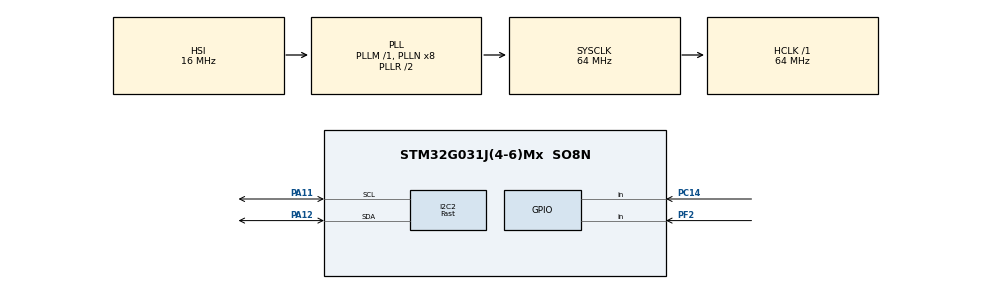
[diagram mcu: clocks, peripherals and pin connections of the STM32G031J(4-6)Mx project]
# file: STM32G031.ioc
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I2C2.I2C_Fall_Time=300
I2C2.I2C_Rise_Time=300
I2C2.I2C_Speed_Mode=I2C_Fast
I2C2.Timing=0x10C71026
Mcu.Family=STM32G0
Mcu.Name=STM32G031J(4-6)Mx
Mcu.Package=SO8N
PA11\ [PA9].GPIO_Pu=GPIO_NOPULL
PA11\ [PA9].Mode=I2C
PA11\ [PA9].Signal=I2C2_SCL
PA12\ [PA10].Mode=I2C
PA12\ [PA10].Signal=I2C2_SDA
PA13.Mode=Serial_Wire
PA13.Signal=SYS_SWDIO
PA14-BOOT0.Mode=Serial_Wire
PA14-BOOT0.Signal=SYS_SWCLK
PA14-BOOT0__PA15__PB5__PB6.StandardMode=true
PB0__PB1__PA8__PA11\ [PA9].StandardMode=true
PC14-OSC32_IN\ (PC14).GPIO_PuPd=GPIO_PULLUP
PC14-OSC32_IN\ (PC14).Signal=GPIO_Input
PC14-OSC32_IN\ (PC14)__PB7__PB8__PB9.StandardMode=true
PF2\ -\ NRST.GPIO_PuPd=GPIO_PULLUP
PF2\ -\ NRST.Signal=GPIO_Input
PF2\ -\ NRST__PA0__PA1__PA2.StandardMode=true
ProjectManager.HeapSize=0x200
ProjectManager.StackSize=0x400
ProjectManager.TargetToolchain=STM32CubeIDE
RCC.ADCFreq_Value=64000000
RCC.AHBFreq_Value=64000000
RCC.CortexFreq_Value=64000000
RCC.EXTERNAL_CLOCK_VALUE=12288000
RCC.HCLKFreq_Value=64000000
RCC.HSE_VALUE=8000000
RCC.HSI_VALUE=16000000
RCC.LSE_VALUE=32768
RCC.SYSCLKFreq_VALUE=64000000
RCC.SYSCLKSource=RCC_SYSCLKSOURCE_PLLCLK
RCC.VCOOutputFreq_Value=128000000
board=custom

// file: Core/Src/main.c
/* USER CODE BEGIN Header */
/**
  ******************************************************************************
  * @file           : main.c
  * @brief          : Main program body
  ******************************************************************************
  * @attention
  *
  * Copyright (c) 2026 STMicroelectronics.
  * All rights reserved.
  *
  * This software is licensed under terms that can be found in the LICENSE file
  * in the root directory of this software component.
  * If no LICENSE file comes with this software, it is provided AS-IS.
  *
  ******************************************************************************
  */
/* USER CODE END Header */
#include "main.h"
#include "i2c.h"
#include "gpio.h"

/* USER CODE BEGIN Includes */
#include <string.h>
#include "ssd1306.h"
#include "fonts.h"
#include "string_oper.h"
/* USER CODE END Includes */

/* USER CODE BEGIN PTD */
#define KEYS_MAX	4
#define KEY_PLUS_FREQ		GPIOF, GPIO_PIN_2
#define KEY_MINUS_FREQ		GPIOC, GPIO_PIN_14
#define KEY_PLUS_TUNN		GPIOA, GPIO_PIN_13
#define KEY_MINUS_TUNN		GPIOA, GPIO_PIN_14

#define MAX_RADIO_CHANNEL	24
#define SIZE_RADIO_NAME		30
#define DIV_ACT	2
#define STEP_FREQ	12.000000
#define DIV_FREQ	75.000000
#define INTER_F1	10.700000

#define WAIT_FOR_ALL_RELEASE	while(INPUT_IsAnyPress(port,KEYS_MAX))
#define MAX_DISPLAYs			2

#define SIZE_MAIN_BUFF	 100

/* USER CODE END PTD */

/* USER CODE BEGIN PD */
typedef struct{
	char radioName[SIZE_RADIO_NAME];
	double freq;
	uint16_t freqStep;
	uint16_t freqDiv;
	double freqOffs;
} RADIOPARAM;

typedef struct{
	char *pName[MAX_RADIO_CHANNEL];
	uint8_t selRadio;
	RADIOPARAM Radio[MAX_RADIO_CHANNEL];
} STRUCT_VISUALPARAM;

static INPUT_PIN port[KEYS_MAX]={{KEY_MINUS_FREQ},{KEY_PLUS_FREQ},{KEY_MINUS_TUNN},{KEY_PLUS_TUNN}};
static STRUCT_VISUALPARAM Test;
static uint16_t toogleVar[3]={0x01};
static uint8_t display[MAX_DISPLAYs]={0x78,0x7A};
static char mainBuff[SIZE_MAIN_BUFF]={0};

/* USER CODE END PD */

void SystemClock_Config(void);
/* USER CODE BEGIN PFP */

static void ERROR_pcf8575(void){
	SSD1306_DispBK(display[0],NoInvert);
	SSD1306_TxtMidd(0,0,"ERROR",Font_16x26,NoInvert);
	SSD1306_TxtMiddX(0,SSD1306_posY()+Font_16x26.FontHeight+3," PCF8575 ",Font_7x10,NoInvert);
	ssd1306_UpdateScreen();
}
static void ERROR_ssd1306(void){
	;
}

static void RADIO_InitScreen(void){
	SSD1306_DispBK(display[0],NoInvert);
	SSD1306_Txt(0,0,"Radio",Font_16x26,NoInvert);	SSD1306_Txt(SSD1306_posX()+5,0,"FM",Font_16x26,NoInvert);
	SSD1306_TxtMiddX(0,SSD1306_posY()+Font_16x26.FontHeight+6,"Synteza",Font_7x10,NoInvert);
	SSD1306_TxtMiddX(0,SSD1306_posY()+Font_7x10.FontHeight+3,"czestotliwosci",Font_7x10,NoInvert);
	ssd1306_UpdateScreen();
}

static int RADIO_SetFreq(int nr){ 	/* PCF8575_Init(); */
	return PCF8575_SetVAl( Test.Radio[nr].freqStep, Test.Radio[nr].freqDiv);
}

static void RADIO_CalcFreqDiv(int nr){
	Test.Radio[nr].freqDiv = ((double)Test.Radio[nr].freqStep+1) * (((Test.Radio[nr].freq+Test.Radio[nr].freqOffs)-INTER_F1-DIV_FREQ)/(DIV_ACT*STEP_FREQ)) - 1;
}
static void RADIO_CalcFreq(int nr){
	Test.Radio[nr].freq    = INTER_F1 + DIV_FREQ + DIV_ACT*STEP_FREQ*(((double)Test.Radio[nr].freqDiv+1)/((double)Test.Radio[nr].freqStep+1));
}

static int RADIO_CorrectFreqForSelChannel(uint8_t nrChannel,uint16_t newFreqDiv){
	Test.selRadio = nrChannel;
	int i = Test.selRadio;
	Test.Radio[i].freqDiv = newFreqDiv;
	RADIO_CalcFreq(i);
	if(PCF8575_SetVAl( Test.Radio[i].freqStep, Test.Radio[i].freqDiv ))
		return 1;
	return 0;
}

static char* GetFreqToBuff(uint16_t idx){
	mainBuff[idx]=' ';
	if(Test.Radio[Test.selRadio].freq+Test.Radio[Test.selRadio].freqOffs < 100.00) 	float2stri(mainBuff+idx+1,Test.Radio[Test.selRadio].freq+Test.Radio[Test.selRadio].freqOffs,2);
	else																			float2stri(mainBuff+idx,  Test.Radio[Test.selRadio].freq+Test.Radio[Test.selRadio].freqOffs,2);
	return mainBuff+idx;
}

static void DispFreqScreen(uint8_t nrDispl)
{
	uint8_t sizeRect=7;
	uint8_t rectPosY=24;
	uint8_t descrPosY=rectPosY-Font_7x10.FontHeight-1;
	uint16_t value;

	SSD1306_DispBK(nrDispl,NoInvert);
	SSD1306_Txt(0,0, Test.Radio[Test.selRadio].radioName, Font_7x10,NoInvert);

	if(toogleVar[1])
	{
		if(1==toogleVar[1]) value=Test.Radio[Test.selRadio].freqStep;
		else				value=Test.Radio[Test.selRadio].freqDiv;

		SSD1306_Txt(0, descrPosY, HexToAscii(value,	  0) /*Int2Str(val_1,Space,3,Sign_none)*/, Font_7x10,NoInvert);
		SSD1306_Txt(64,descrPosY, HexToAscii(value>>8,0) /*Int2Str(val_2,Space,3,Sign_none)*/, Font_7x10,NoInvert);
		LOOP_FOR(i,16){
			if(CHECK_bit(value,i)) SSD1306_roundRect (8*i,rectPosY,sizeRect,sizeRect);
			else   				   SSD1306_roundFrame(8*i,rectPosY,sizeRect,sizeRect);
		}
	}
	SSD1306_Txt(0,37,GetFreqToBuff(0), Font_16x26,NoInvert);
	SSD1306_Txt( SSD1306_posX()+10, MIDDLE(37,Font_16x26.FontHeight,Font_7x10.FontHeight), "MHz", Font_7x10,NoInvert);
	ssd1306_UpdateScreen();
}

static void RADIO_DispFreq(void){
	RADIO_CalcFreqDiv(Test.selRadio);
	if(RADIO_SetFreq(Test.selRadio)) ERROR_pcf8575();
	DispFreqScreen(display[0]);
}

static void FUNC_TunningFreq(int k){ switch(k){
  case -1: return;
  case  0: INCR( Test.Radio[Test.selRadio].freqOffs, 0.01, 1.00 ); break;
  case  1: DECR( Test.Radio[Test.selRadio].freqOffs, 0.01,-1.00 ); break; }
	RADIO_DispFreq();
}

static void VisualParam_LCD_Reset(void)
{
	Test.Radio[0].freq= 101.6;		strcpy(Test.Radio[0].radioName,"Radio Krakow    ");
	Test.Radio[1].freq=  87.8;		strcpy(Test.Radio[1].radioName,"RMF Classic     ");
	Test.Radio[2].freq=  89.4;		strcpy(Test.Radio[2].radioName,"Jedynka         ");
	Test.Radio[3].freq=  88.8;		strcpy(Test.Radio[3].radioName,"Eska 2          ");
	Test.Radio[4].freq=  99.4;		strcpy(Test.Radio[4].radioName,"Trojka          ");
	Test.Radio[5].freq=  96.0;		strcpy(Test.Radio[5].radioName,"RMF FM          ");
	Test.Radio[6].freq= 104.1;		strcpy(Test.Radio[6].radioName,"Radio Zet       ");
	Test.Radio[7].freq=  96.7;		strcpy(Test.Radio[7].radioName,"RMF MAXXX       ");
	Test.Radio[8].freq= 106.1;		strcpy(Test.Radio[8].radioName,"Radio Plus      ");
	Test.Radio[9].freq=  90.6;		strcpy(Test.Radio[9].radioName,"Radio Maryja    ");		//PCF8575_SetVAl( (0x12<<8)|0xBF, (0x2<<8)|0x1E );  //00000010  00011110 Radio Maryja
	Test.Radio[10].freq= 92.5;	   strcpy(Test.Radio[10].radioName,"Zlote przeboje  ");
	Test.Radio[11].freq= 102.4;	   strcpy(Test.Radio[11].radioName,"Radio Pogoda    ");
	Test.Radio[12].freq= 103.0;	   strcpy(Test.Radio[12].radioName,"Radio Katowice  ");
	Test.Radio[13].freq= 102.9;	   strcpy(Test.Radio[13].radioName,"TOK FM          ");
	Test.Radio[14].freq=  97.7;	   strcpy(Test.Radio[14].radioName,"Eska            ");
	Test.Radio[15].freq=  93.7;	   strcpy(Test.Radio[15].radioName,"Chillizet       ");
	Test.Radio[16].freq= 104.9;	   strcpy(Test.Radio[16].radioName,"Eska Rock       ");
	Test.Radio[17].freq= 107.0;	   strcpy(Test.Radio[17].radioName,"VOX FM          ");
	Test.Radio[18].freq= 101.0;	   strcpy(Test.Radio[18].radioName,"AntyRadio       ");
	Test.Radio[19].freq= 102.0;	   strcpy(Test.Radio[19].radioName,"Dwojka          ");
	Test.Radio[20].freq=  97.2;	   strcpy(Test.Radio[20].radioName,"Polskie Radio 24");
	Test.Radio[21].freq= 103.8;	   strcpy(Test.Radio[21].radioName,"Rock Radio      ");
	Test.Radio[22].freq=  95.2;	   strcpy(Test.Radio[22].radioName,"Radio Wnet      ");
	Test.Radio[23].freq= 100.5;	   strcpy(Test.Radio[23].radioName,"Radio Famka     ");

	LOOP_FOR(i,MAX_RADIO_CHANNEL){	Test.pName[i]		   = Test.Radio[i].radioName;
									Test.Radio[i].freqStep = (0x12<<8)|0xBF;
									Test.Radio[i].freqOffs = 0.0;
									RADIO_CalcFreqDiv(i);
	}
	Test.selRadio=0;
	if(RADIO_SetFreq(Test.selRadio)) ERROR_pcf8575();
}

static void SERVICE_0press_1111(void){

}

static void SERVICE_1press_1110(void){
	INCR(Test.selRadio,1,MAX_RADIO_CHANNEL-1);
	RADIO_DispFreq();
	WAIT_FOR_ALL_RELEASE;
}
static void SERVICE_1press_1101(void){
	DECR(Test.selRadio,1,0);
	RADIO_DispFreq();
	WAIT_FOR_ALL_RELEASE;
}
static void SERVICE_1press_1011(void){
	FUNC_TunningFreq(0);
	WAIT_FOR_ALL_RELEASE;
}
static void SERVICE_1press_0111(void){
	FUNC_TunningFreq(1);
	WAIT_FOR_ALL_RELEASE;
}

static void SERVICE_2press_1100(void){
	RADIO_InitScreen();
	WAIT_FOR_ALL_RELEASE;
}
static void SERVICE_2press_1010(void){

}
static void SERVICE_2press_0110(void){
	EXAMPLE_DrawTxt(display);
	WAIT_FOR_ALL_RELEASE;
}
static void SERVICE_2press_1001(void){
	INCR_WRAP(toogleVar[1],1,0,2);
	RADIO_DispFreq();
	WAIT_FOR_ALL_RELEASE;
}
static void SERVICE_2press_0101(void){
	if(toogleVar[1]){  INCR_WRAP(toogleVar[1],1,1,2);  }
	RADIO_DispFreq();
	WAIT_FOR_ALL_RELEASE;
}
static void SERVICE_2press_0011(void){
	if(RADIO_CorrectFreqForSelChannel(9, (0x2<<8)|0x1E))  ERROR_pcf8575();		/* Correct frequency for Radio Maryja */
	DispFreqScreen(display[0]);
	WAIT_FOR_ALL_RELEASE;
}

static void SERVICE_3press_1000(void){
	ERROR_pcf8575();
	WAIT_FOR_ALL_RELEASE;
}
static void SERVICE_3press_0100(void){
	ssd1306_InvertColors();
	ssd1306_Clr();
	DispFreqScreen(display[0]);
	HAL_Delay(500);
}
static void SERVICE_3press_0010(void){

}
static void SERVICE_3press_0001(void){

}

static void SERVICE_4press_0000(void){
	if(TOOGLE(toogleVar[0])){  if(PCF8575_SetVAl(0xFFFF,0xFFFF)) ERROR_pcf8575(); }
	else 					{  RADIO_DispFreq();								  }
	WAIT_FOR_ALL_RELEASE;
}

void SERVICE_InputPress(void){
	INPUT_PRESS press = INPUT_GetPressPin(port,KEYS_MAX);
	switch(press.mode){
	  	case PRESSED_NONE:
	  					SERVICE_0press_1111();
	  	  	break;
	   case PRESSED_ONE:
	  		switch(press.code){
	  		  	case 1: SERVICE_1press_1110(); break;
	  		  	case 2: SERVICE_1press_1101(); break;
	  		  	case 3: SERVICE_1press_1011(); break;
	  		  	case 4: SERVICE_1press_0111(); break;
	  		  	default: break; }
	  	  	break;
	  	case PRESSED_TWO:
	  		switch(press.code){
	  		  	case 5:  SERVICE_2press_1100(); break;
	  		  	case 6:  SERVICE_2press_1010(); break;
	  		  	case 7:  SERVICE_2press_0110(); break;
	  		  	case 9:  SERVICE_2press_1001(); break;
	  		  	case 11: SERVICE_2press_0101(); break;
	  		  	case 15: SERVICE_2press_0011(); break;
	  		  	default: break; }
	  	  	break;
	  	case PRESSED_THREE:
	  		switch(press.code){
	  		  	case 16: SERVICE_3press_1000(); break;
	  		  	case 18: SERVICE_3press_0100(); break;
	  		  	case 22: SERVICE_3press_0010(); break;
	  		  	case 34: SERVICE_3press_0001(); break;
	  		  	default: break; }
	  	  	break;
	  	case PRESSED_FOUR:
	  		switch(press.code){
	  		  	case 35: SERVICE_4press_0000(); break;
	  		  	default: break; }
	  	  	break;

	    default:
	     break;
	  }
}

/* USER CODE END PFP */

int main(void)
{

  /* MCU Configuration--------------------------------------------------------*/

  /* Reset of all peripherals, Initializes the Flash interface and the Systick. */
  HAL_Init();

  /* Configure the system clock */
  SystemClock_Config();

  /* Initialize all configured peripherals */
  MX_GPIO_Init();
  MX_I2C2_Init();
  /* USER CODE BEGIN 2 */
  HAL_Delay(200);
  if(SD1306_Inits(display)) ERROR_ssd1306();
  RADIO_InitScreen();

  VisualParam_LCD_Reset();
  MX_GPIO_ChangeConfigSWDpin(6000);
  /* USER CODE END 2 */

  /* Infinite loop */
  /* USER CODE BEGIN WHILE */

  DispFreqScreen(display[0]);

  while (1)
  {
    /* USER CODE END WHILE */

    /* USER CODE BEGIN 3 */

	  SERVICE_InputPress();
  }
  /* USER CODE END 3 */
}

void SystemClock_Config(void)
{
  RCC_OscInitTypeDef RCC_OscInitStruct = {0};
  RCC_ClkInitTypeDef RCC_ClkInitStruct = {0};

  /** Configure the main internal regulator output voltage
  */
  HAL_PWREx_ControlVoltageScaling(PWR_REGULATOR_VOLTAGE_SCALE1);

  /** Initializes the RCC Oscillators according to the specified parameters
  * in the RCC_OscInitTypeDef structure.
  */
  RCC_OscInitStruct.OscillatorType = RCC_OSCILLATORTYPE_HSI;
  RCC_OscInitStruct.HSIState = RCC_HSI_ON;
  RCC_OscInitStruct.HSIDiv = RCC_HSI_DIV1;
  RCC_OscInitStruct.HSICalibrationValue = RCC_HSICALIBRATION_DEFAULT;
  RCC_OscInitStruct.PLL.PLLState = RCC_PLL_ON;
  RCC_OscInitStruct.PLL.PLLSource = RCC_PLLSOURCE_HSI;
  RCC_OscInitStruct.PLL.PLLM = RCC_PLLM_DIV1;
  RCC_OscInitStruct.PLL.PLLN = 8;
  RCC_OscInitStruct.PLL.PLLP = RCC_PLLP_DIV2;
  RCC_OscInitStruct.PLL.PLLQ = RCC_PLLQ_DIV2;
  RCC_OscInitStruct.PLL.PLLR = RCC_PLLR_DIV2;
  if (HAL_RCC_OscConfig(&RCC_OscInitStruct) != HAL_OK)
  {
    Error_Handler();
  }

  /** Initializes the CPU, AHB and APB buses clocks
  */
  RCC_ClkInitStruct.ClockType = RCC_CLOCKTYPE_HCLK|RCC_CLOCKTYPE_SYSCLK
                              |RCC_CLOCKTYPE_PCLK1;
  RCC_ClkInitStruct.SYSCLKSource = RCC_SYSCLKSOURCE_PLLCLK;
  RCC_ClkInitStruct.AHBCLKDivider = RCC_SYSCLK_DIV1;
  RCC_ClkInitStruct.APB1CLKDivider = RCC_HCLK_DIV1;

  if (HAL_RCC_ClockConfig(&RCC_ClkInitStruct, FLASH_LATENCY_2) != HAL_OK)
  {
    Error_Handler();
  }
}

void Error_Handler(void)
{
  /* USER CODE BEGIN Error_Handler_Debug */
  /* User can add his own implementation to report the HAL error return state */
  __disable_irq();
  while (1)
  {
	  asm("nop");
  }
  /* USER CODE END Error_Handler_Debug */
}
